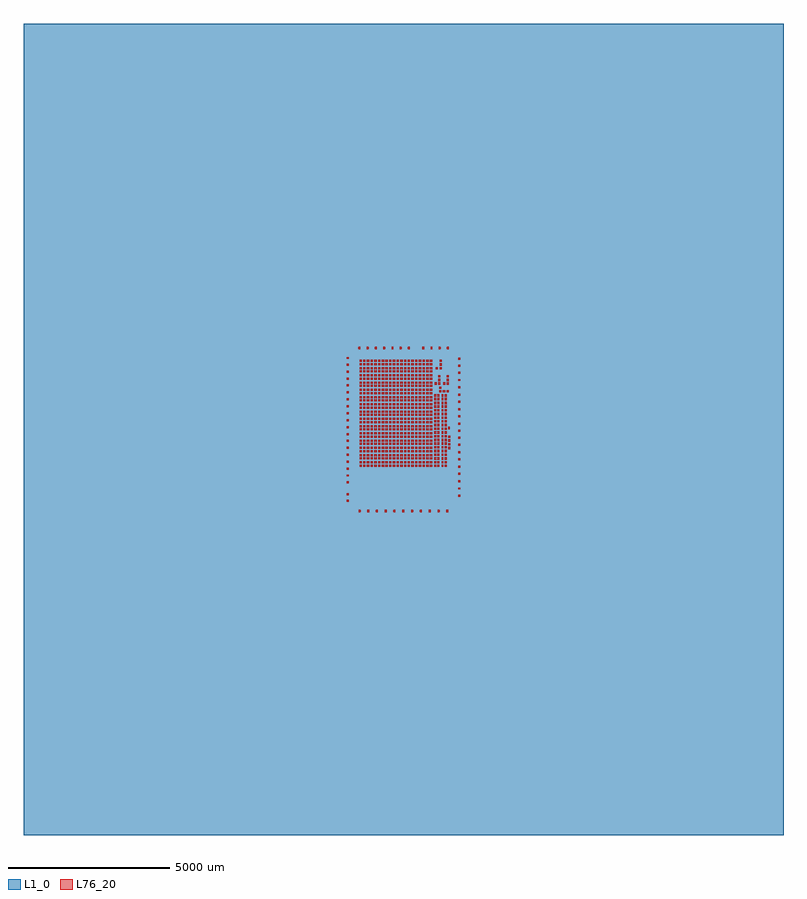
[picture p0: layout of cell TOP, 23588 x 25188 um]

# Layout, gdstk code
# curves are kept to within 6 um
import gdstk
lib = gdstk.Library(unit=1e-6, precision=1e-09)
def R(c, l, rs):  # rectangles x0, y0, x1, y1
    for r in rs: c.add(gdstk.rectangle(r[:2], r[2:], *l))
def A(c, l, x, y, w, h, nx, ny, dx, dy):  # array of equal rectangles
    R(c, l, [(x+i*dx, y+j*dy, x+i*dx+w, y+j*dy+h) for i in range(nx) for j in range(ny)])
def P(c, l, *ps):  # polygons
    for p in ps: c.add(gdstk.Polygon(p, *l))
L1_0 = (1, 0)
L76_20 = (76, 20)

top = lib.new_cell('TOP')
A(top, L1_0, 10181.7, -6125.5, 400, 400, 1, 4, 0, 550.05)
A(top, L1_0, -6958, -5851.25, 400, 400, 1, 3, 0, 550.05)
A(top, L1_0, -6958, -4201, 400, 400, 1, 8, 0, 550.05)
A(top, L1_0, 10181.7, -3925.2, 400, 400, 1, 8, 0, 550.05)
A(top, L1_0, 381.5, 14.5, 100, 100, 3, 1, 269, 0)
A(top, L1_0, 1462.5, 14.5, 100, 100, 6, 1, 274, 0)
A(top, L1_0, -6958, 199.5, 400, 400, 1, 4, 0, 550.05)
A(top, L1_0, 10181.7, 475.3, 400, 400, 1, 4, 0, 550.05)
A(top, L1_0, 14.65, 900.5, 100, 100, 1, 6, 0, 216)
A(top, L1_0, 3473.7, 1164.5, 100, 100, 1, 3, 0, 225)
A(top, L1_0, 3473.7, 2286.5, 100, 100, 1, 3, 0, 220)
A(top, L1_0, -6958, 2398.7, 400, 400, 1, 4, 0, 550.05)
A(top, L1_0, 14.65, 2402.5, 100, 100, 1, 8, 0, 216)
A(top, L1_0, 10181.7, 2674.5, 400, 400, 1, 4, 0, 550.05)
A(top, L1_0, 3473.7, 3403.5, 100, 100, 1, 3, 0, 225)
A(top, L1_0, 14.65, 4125.5, 100, 100, 1, 3, 0, 211)
A(top, L1_0, -6958, 4599, 400, 400, 1, 8, 0, 550.05)
A(top, L1_0, 10181.7, 4874.8, 400, 400, 1, 8, 0, 550.05)
A(top, L1_0, -6958, 8999.5, 400, 400, 1, 4, 0, 550.05)
A(top, L1_0, 10181.7, 9275.3, 400, 400, 1, 4, 0, 550.05)
R(top, L1_0, [(-10000,-10000,13588,15188), (-6982.88,-6982.784,-5982.88,-5982.784), (9606.72,-6980.384,10606.72,-5980.384), (1193.5,14.5,1293.5,114.5), (3101.5,14.5,3201.5,114.5), (14.65,327.5,114.65,427.5), (3473.7,487.5,3573.7,587.5), (14.65,538.5,114.65,638.5), (3473.7,713.5,3573.7,813.5), (3473.7,938.5,3573.7,1038.5), (3473.7,1840.5,3573.7,1940.5), (3473.7,2065.5,3573.7,2165.5), (14.65,2191.5,114.65,2291.5), (3473.7,2952.5,3573.7,3052.5), (3473.7,3177.5,3573.7,3277.5), (3473.7,4079.5,3573.7,4179.5), (3473.7,4299.5,3573.7,4399.5), (3473.7,4525.5,3573.7,4625.5), (3473.7,4745.5,3573.7,4845.5), (14.65,4763.5,114.65,4863.5), (373.5,5074,473.5,5174), (631,5074,731,5174), (887.5,5074,987.5,5174), (1144.5,5074,1244.5,5174), (1402.5,5074,1502.5,5174), (1654.5,5074,1754.5,5174), (1911.5,5074,2011.5,5174), (2357,5074,2457,5174), (2613.5,5074,2713.5,5174), (2865.5,5074,2965.5,5174), (3122.5,5074,3222.5,5174), (-6977.58,11180.816,-5977.58,12180.816), (9576.72,11184.616,10576.72,12184.616)])
P(top, L1_0, [(207.375,197.865),(197.866,207.374),(199.278,4985.278),(3385.281,4988.719),(3388.722,202.718)])
A(top, L76_20, 3180.84, 1987.68, 60, 70, 1, 4, 0, 115)
A(top, L76_20, 2899.89, 3744.93, 70, 60, 3, 1, 115, 0)
A(top, L76_20, 2875.69, 3983.38, 60, 70, 1, 3, 0, 115)
A(top, L76_20, 3138.64, 3984.03, 60, 70, 1, 3, 0, 115)
A(top, L76_20, 2915.64, 4461.68, 60, 70, 1, 3, 0, 115)
R(top, L76_20, [(2750.44,1431.98,2810.44,1501.98), (2848.54,1431.98,2908.54,1501.98), (2975.44,1431.98,3035.44,1501.98), (3073.54,1431.98,3133.54,1501.98), (430.89,1443.23,500.89,1503.23), (543.99,1443.23,613.99,1503.23), (660.89,1443.23,730.89,1503.23), (773.99,1443.23,843.99,1503.23), (890.89,1443.23,960.89,1503.23), (1003.99,1443.23,1073.99,1503.23), (1120.89,1443.23,1190.89,1503.23), (1233.99,1443.23,1303.99,1503.23), (1350.89,1443.23,1420.89,1503.23), (1463.99,1443.23,1533.99,1503.23), (1580.89,1443.23,1650.89,1503.23), (1693.99,1443.23,1763.99,1503.23), (1810.89,1443.23,1880.89,1503.23), (1923.99,1443.23,1993.99,1503.23), (2040.89,1443.23,2110.89,1503.23), (2153.99,1443.23,2223.99,1503.23), (2270.89,1443.23,2340.89,1503.23), (2383.99,1443.23,2453.99,1503.23), (2500.89,1443.23,2570.89,1503.23), (2613.99,1443.23,2683.99,1503.23), (430.89,1541.33,500.89,1601.33), (543.99,1541.33,613.99,1601.33), (660.89,1541.33,730.89,1601.33), (773.99,1541.33,843.99,1601.33), (890.89,1541.33,960.89,1601.33), (1003.99,1541.33,1073.99,1601.33), (1120.89,1541.33,1190.89,1601.33), (1233.99,1541.33,1303.99,1601.33), (1350.89,1541.33,1420.89,1601.33), (1463.99,1541.33,1533.99,1601.33), (1580.89,1541.33,1650.89,1601.33), (1693.99,1541.33,1763.99,1601.33), (1810.89,1541.33,1880.89,1601.33), (1923.99,1541.33,1993.99,1601.33), (2040.89,1541.33,2110.89,1601.33), (2153.99,1541.33,2223.99,1601.33), (2270.89,1541.33,2340.89,1601.33), (2383.99,1541.33,2453.99,1601.33), (2500.89,1541.33,2570.89,1601.33), (2613.99,1541.33,2683.99,1601.33), (2750.44,1545.08,2810.44,1615.08), (2848.54,1545.08,2908.54,1615.08), (2975.44,1545.08,3035.44,1615.08), (3073.54,1545.08,3133.54,1615.08), (2750.44,1661.98,2810.44,1731.98), (2848.54,1661.98,2908.54,1731.98), (2975.44,1661.98,3035.44,1731.98), (3073.54,1661.98,3133.54,1731.98), (430.89,1668.23,500.89,1728.23), (543.99,1668.23,613.99,1728.23), (660.89,1668.23,730.89,1728.23), (773.99,1668.23,843.99,1728.23), (890.89,1668.23,960.89,1728.23), (1003.99,1668.23,1073.99,1728.23), (1120.89,1668.23,1190.89,1728.23), (1233.99,1668.23,1303.99,1728.23), (1350.89,1668.23,1420.89,1728.23), (1463.99,1668.23,1533.99,1728.23), (1580.89,1668.23,1650.89,1728.23), (1693.99,1668.23,1763.99,1728.23), (1810.89,1668.23,1880.89,1728.23), (1923.99,1668.23,1993.99,1728.23), (2040.89,1668.23,2110.89,1728.23), (2153.99,1668.23,2223.99,1728.23), (2270.89,1668.23,2340.89,1728.23), (2383.99,1668.23,2453.99,1728.23), (2500.89,1668.23,2570.89,1728.23), (2613.99,1668.23,2683.99,1728.23), (430.89,1766.33,500.89,1826.33), (543.99,1766.33,613.99,1826.33), (660.89,1766.33,730.89,1826.33), (773.99,1766.33,843.99,1826.33), (890.89,1766.33,960.89,1826.33), (1003.99,1766.33,1073.99,1826.33), (1120.89,1766.33,1190.89,1826.33), (1233.99,1766.33,1303.99,1826.33), (1350.89,1766.33,1420.89,1826.33), (1463.99,1766.33,1533.99,1826.33), (1580.89,1766.33,1650.89,1826.33), (1693.99,1766.33,1763.99,1826.33), (1810.89,1766.33,1880.89,1826.33), (1923.99,1766.33,1993.99,1826.33), (2040.89,1766.33,2110.89,1826.33), (2153.99,1766.33,2223.99,1826.33), (2270.89,1766.33,2340.89,1826.33), (2383.99,1766.33,2453.99,1826.33), (2500.89,1766.33,2570.89,1826.33), (2613.99,1766.33,2683.99,1826.33), (2750.44,1775.08,2810.44,1845.08), (2848.54,1775.08,2908.54,1845.08), (2975.44,1775.08,3035.44,1845.08), (3073.54,1775.08,3133.54,1845.08), (2750.44,1891.98,2810.44,1961.98), (2848.54,1891.98,2908.54,1961.98), (2975.44,1891.98,3035.44,1961.98), (3073.54,1891.98,3133.54,1961.98), (430.89,1893.23,500.89,1953.23), (543.99,1893.23,613.99,1953.23), (660.89,1893.23,730.89,1953.23), (773.99,1893.23,843.99,1953.23), (890.89,1893.23,960.89,1953.23), (1003.99,1893.23,1073.99,1953.23), (1120.89,1893.23,1190.89,1953.23), (1233.99,1893.23,1303.99,1953.23), (1350.89,1893.23,1420.89,1953.23), (1463.99,1893.23,1533.99,1953.23), (1580.89,1893.23,1650.89,1953.23), (1693.99,1893.23,1763.99,1953.23), (1810.89,1893.23,1880.89,1953.23), (1923.99,1893.23,1993.99,1953.23), (2040.89,1893.23,2110.89,1953.23), (2153.99,1893.23,2223.99,1953.23), (2270.89,1893.23,2340.89,1953.23), (2383.99,1893.23,2453.99,1953.23), (2500.89,1893.23,2570.89,1953.23), (2613.99,1893.23,2683.99,1953.23), (430.89,1991.33,500.89,2051.33), (543.99,1991.33,613.99,2051.33), (660.89,1991.33,730.89,2051.33), (773.99,1991.33,843.99,2051.33), (890.89,1991.33,960.89,2051.33), (1003.99,1991.33,1073.99,2051.33), (1120.89,1991.33,1190.89,2051.33), (1233.99,1991.33,1303.99,2051.33), (1350.89,1991.33,1420.89,2051.33), (1463.99,1991.33,1533.99,2051.33), (1580.89,1991.33,1650.89,2051.33), (1693.99,1991.33,1763.99,2051.33), (1810.89,1991.33,1880.89,2051.33), (1923.99,1991.33,1993.99,2051.33), (2040.89,1991.33,2110.89,2051.33), (2153.99,1991.33,2223.99,2051.33), (2270.89,1991.33,2340.89,2051.33), (2383.99,1991.33,2453.99,2051.33), (2500.89,1991.33,2570.89,2051.33), (2613.99,1991.33,2683.99,2051.33), (2750.44,2005.08,2810.44,2075.08), (2848.54,2005.08,2908.54,2075.08), (2975.44,2005.08,3035.44,2075.08), (3073.54,2005.08,3133.54,2075.08), (430.89,2118.23,500.89,2178.23), (543.99,2118.23,613.99,2178.23), (660.89,2118.23,730.89,2178.23), (773.99,2118.23,843.99,2178.23), (890.89,2118.23,960.89,2178.23), (1003.99,2118.23,1073.99,2178.23), (1120.89,2118.23,1190.89,2178.23), (1233.99,2118.23,1303.99,2178.23), (1350.89,2118.23,1420.89,2178.23), (1463.99,2118.23,1533.99,2178.23), (1580.89,2118.23,1650.89,2178.23), (1693.99,2118.23,1763.99,2178.23), (1810.89,2118.23,1880.89,2178.23), (1923.99,2118.23,1993.99,2178.23), (2040.89,2118.23,2110.89,2178.23), (2153.99,2118.23,2223.99,2178.23), (2270.89,2118.23,2340.89,2178.23), (2383.99,2118.23,2453.99,2178.23), (2500.89,2118.23,2570.89,2178.23), (2613.99,2118.23,2683.99,2178.23), (2750.44,2121.98,2810.44,2191.98), (2848.54,2121.98,2908.54,2191.98), (2975.44,2121.98,3035.44,2191.98), (3073.54,2121.98,3133.54,2191.98), (430.89,2216.33,500.89,2276.33), (543.99,2216.33,613.99,2276.33), (660.89,2216.33,730.89,2276.33), (773.99,2216.33,843.99,2276.33), (890.89,2216.33,960.89,2276.33), (1003.99,2216.33,1073.99,2276.33), (1120.89,2216.33,1190.89,2276.33), (1233.99,2216.33,1303.99,2276.33), (1350.89,2216.33,1420.89,2276.33), (1463.99,2216.33,1533.99,2276.33), (1580.89,2216.33,1650.89,2276.33), (1693.99,2216.33,1763.99,2276.33), (1810.89,2216.33,1880.89,2276.33), (1923.99,2216.33,1993.99,2276.33), (2040.89,2216.33,2110.89,2276.33), (2153.99,2216.33,2223.99,2276.33), (2270.89,2216.33,2340.89,2276.33), (2383.99,2216.33,2453.99,2276.33), (2500.89,2216.33,2570.89,2276.33), (2613.99,2216.33,2683.99,2276.33), (2750.44,2235.08,2810.44,2305.08), (2848.54,2235.08,2908.54,2305.08), (2975.44,2235.08,3035.44,2305.08), (3073.54,2235.08,3133.54,2305.08), (430.89,2343.23,500.89,2403.23), (543.99,2343.23,613.99,2403.23), (660.89,2343.23,730.89,2403.23), (773.99,2343.23,843.99,2403.23), (890.89,2343.23,960.89,2403.23), (1003.99,2343.23,1073.99,2403.23), (1120.89,2343.23,1190.89,2403.23), (1233.99,2343.23,1303.99,2403.23), (1350.89,2343.23,1420.89,2403.23), (1463.99,2343.23,1533.99,2403.23), (1580.89,2343.23,1650.89,2403.23), (1693.99,2343.23,1763.99,2403.23), (1810.89,2343.23,1880.89,2403.23), (1923.99,2343.23,1993.99,2403.23), (2040.89,2343.23,2110.89,2403.23), (2153.99,2343.23,2223.99,2403.23), (2270.89,2343.23,2340.89,2403.23), (2383.99,2343.23,2453.99,2403.23), (2500.89,2343.23,2570.89,2403.23), (2613.99,2343.23,2683.99,2403.23), (2750.44,2351.98,2810.44,2421.98), (2848.54,2351.98,2908.54,2421.98), (2975.44,2351.98,3035.44,2421.98), (3073.54,2351.98,3133.54,2421.98), (430.89,2441.33,500.89,2501.33), (543.99,2441.33,613.99,2501.33), (660.89,2441.33,730.89,2501.33), (773.99,2441.33,843.99,2501.33), (890.89,2441.33,960.89,2501.33), (1003.99,2441.33,1073.99,2501.33), (1120.89,2441.33,1190.89,2501.33), (1233.99,2441.33,1303.99,2501.33), (1350.89,2441.33,1420.89,2501.33), (1463.99,2441.33,1533.99,2501.33), (1580.89,2441.33,1650.89,2501.33), (1693.99,2441.33,1763.99,2501.33), (1810.89,2441.33,1880.89,2501.33), (1923.99,2441.33,1993.99,2501.33), (2040.89,2441.33,2110.89,2501.33), (2153.99,2441.33,2223.99,2501.33), (2270.89,2441.33,2340.89,2501.33), (2383.99,2441.33,2453.99,2501.33), (2500.89,2441.33,2570.89,2501.33), (2613.99,2441.33,2683.99,2501.33), (2750.44,2465.08,2810.44,2535.08), (2848.54,2465.08,2908.54,2535.08), (2975.44,2465.08,3035.44,2535.08), (3073.54,2465.08,3133.54,2535.08), (430.89,2568.23,500.89,2628.23), (543.99,2568.23,613.99,2628.23), (660.89,2568.23,730.89,2628.23), (773.99,2568.23,843.99,2628.23), (890.89,2568.23,960.89,2628.23), (1003.99,2568.23,1073.99,2628.23), (1120.89,2568.23,1190.89,2628.23), (1233.99,2568.23,1303.99,2628.23), (1350.89,2568.23,1420.89,2628.23), (1463.99,2568.23,1533.99,2628.23), (1580.89,2568.23,1650.89,2628.23), (1693.99,2568.23,1763.99,2628.23), (1810.89,2568.23,1880.89,2628.23), (1923.99,2568.23,1993.99,2628.23), (2040.89,2568.23,2110.89,2628.23), (2153.99,2568.23,2223.99,2628.23), (2270.89,2568.23,2340.89,2628.23), (2383.99,2568.23,2453.99,2628.23), (2500.89,2568.23,2570.89,2628.23), (2613.99,2568.23,2683.99,2628.23), (2750.44,2581.98,2810.44,2651.98), (2848.54,2581.98,2908.54,2651.98), (2975.44,2581.98,3035.44,2651.98), (3073.54,2581.98,3133.54,2651.98), (3176.24,2604.88,3236.24,2674.88), (430.89,2666.33,500.89,2726.33), (543.99,2666.33,613.99,2726.33), (660.89,2666.33,730.89,2726.33), (773.99,2666.33,843.99,2726.33), (890.89,2666.33,960.89,2726.33), (1003.99,2666.33,1073.99,2726.33), (1120.89,2666.33,1190.89,2726.33), (1233.99,2666.33,1303.99,2726.33), (1350.89,2666.33,1420.89,2726.33), (1463.99,2666.33,1533.99,2726.33), (1580.89,2666.33,1650.89,2726.33), (1693.99,2666.33,1763.99,2726.33), (1810.89,2666.33,1880.89,2726.33), (1923.99,2666.33,1993.99,2726.33), (2040.89,2666.33,2110.89,2726.33), (2153.99,2666.33,2223.99,2726.33), (2270.89,2666.33,2340.89,2726.33), (2383.99,2666.33,2453.99,2726.33), (2500.89,2666.33,2570.89,2726.33), (2613.99,2666.33,2683.99,2726.33), (2750.44,2695.08,2810.44,2765.08), (2848.54,2695.08,2908.54,2765.08), (2975.44,2695.08,3035.44,2765.08), (3073.54,2695.08,3133.54,2765.08), (430.89,2793.23,500.89,2853.23), (543.99,2793.23,613.99,2853.23), (660.89,2793.23,730.89,2853.23), (773.99,2793.23,843.99,2853.23), (890.89,2793.23,960.89,2853.23), (1003.99,2793.23,1073.99,2853.23), (1120.89,2793.23,1190.89,2853.23), (1233.99,2793.23,1303.99,2853.23), (1350.89,2793.23,1420.89,2853.23), (1463.99,2793.23,1533.99,2853.23), (1580.89,2793.23,1650.89,2853.23), (1693.99,2793.23,1763.99,2853.23), (1810.89,2793.23,1880.89,2853.23), (1923.99,2793.23,1993.99,2853.23), (2040.89,2793.23,2110.89,2853.23), (2153.99,2793.23,2223.99,2853.23), (2270.89,2793.23,2340.89,2853.23), (2383.99,2793.23,2453.99,2853.23), (2500.89,2793.23,2570.89,2853.23), (2613.99,2793.23,2683.99,2853.23), (2750.44,2811.98,2810.44,2881.98), (2848.54,2811.98,2908.54,2881.98), (2975.44,2811.98,3035.44,2881.98), (3073.54,2811.98,3133.54,2881.98), (430.89,2891.33,500.89,2951.33), (543.99,2891.33,613.99,2951.33), (660.89,2891.33,730.89,2951.33), (773.99,2891.33,843.99,2951.33), (890.89,2891.33,960.89,2951.33), (1003.99,2891.33,1073.99,2951.33), (1120.89,2891.33,1190.89,2951.33), (1233.99,2891.33,1303.99,2951.33), (1350.89,2891.33,1420.89,2951.33), (1463.99,2891.33,1533.99,2951.33), (1580.89,2891.33,1650.89,2951.33), (1693.99,2891.33,1763.99,2951.33), (1810.89,2891.33,1880.89,2951.33), (1923.99,2891.33,1993.99,2951.33), (2040.89,2891.33,2110.89,2951.33), (2153.99,2891.33,2223.99,2951.33), (2270.89,2891.33,2340.89,2951.33), (2383.99,2891.33,2453.99,2951.33), (2500.89,2891.33,2570.89,2951.33), (2613.99,2891.33,2683.99,2951.33), (2750.44,2925.08,2810.44,2995.08), (2848.54,2925.08,2908.54,2995.08), (2975.44,2925.08,3035.44,2995.08), (3073.54,2925.08,3133.54,2995.08), (430.89,3018.23,500.89,3078.23), (543.99,3018.23,613.99,3078.23), (660.89,3018.23,730.89,3078.23), (773.99,3018.23,843.99,3078.23), (890.89,3018.23,960.89,3078.23), (1003.99,3018.23,1073.99,3078.23), (1120.89,3018.23,1190.89,3078.23), (1233.99,3018.23,1303.99,3078.23), (1350.89,3018.23,1420.89,3078.23), (1463.99,3018.23,1533.99,3078.23), (1580.89,3018.23,1650.89,3078.23), (1693.99,3018.23,1763.99,3078.23), (1810.89,3018.23,1880.89,3078.23), (1923.99,3018.23,1993.99,3078.23), (2040.89,3018.23,2110.89,3078.23), (2153.99,3018.23,2223.99,3078.23), (2270.89,3018.23,2340.89,3078.23), (2383.99,3018.23,2453.99,3078.23), (2500.89,3018.23,2570.89,3078.23), (2613.99,3018.23,2683.99,3078.23), (2750.44,3041.98,2810.44,3111.98), (2848.54,3041.98,2908.54,3111.98), (2975.44,3041.98,3035.44,3111.98), (3073.54,3041.98,3133.54,3111.98), (430.89,3116.33,500.89,3176.33), (543.99,3116.33,613.99,3176.33), (660.89,3116.33,730.89,3176.33), (773.99,3116.33,843.99,3176.33), (890.89,3116.33,960.89,3176.33), (1003.99,3116.33,1073.99,3176.33), (1120.89,3116.33,1190.89,3176.33), (1233.99,3116.33,1303.99,3176.33), (1350.89,3116.33,1420.89,3176.33), (1463.99,3116.33,1533.99,3176.33), (1580.89,3116.33,1650.89,3176.33), (1693.99,3116.33,1763.99,3176.33), (1810.89,3116.33,1880.89,3176.33), (1923.99,3116.33,1993.99,3176.33), (2040.89,3116.33,2110.89,3176.33), (2153.99,3116.33,2223.99,3176.33), (2270.89,3116.33,2340.89,3176.33), (2383.99,3116.33,2453.99,3176.33), (2500.89,3116.33,2570.89,3176.33), (2613.99,3116.33,2683.99,3176.33), (2750.44,3155.08,2810.44,3225.08), (2848.54,3155.08,2908.54,3225.08), (2975.44,3155.08,3035.44,3225.08), (3073.54,3155.08,3133.54,3225.08), (430.89,3243.23,500.89,3303.23), (543.99,3243.23,613.99,3303.23), (660.89,3243.23,730.89,3303.23), (773.99,3243.23,843.99,3303.23), (890.89,3243.23,960.89,3303.23), (1003.99,3243.23,1073.99,3303.23), (1120.89,3243.23,1190.89,3303.23), (1233.99,3243.23,1303.99,3303.23), (1350.89,3243.23,1420.89,3303.23), (1463.99,3243.23,1533.99,3303.23), (1580.89,3243.23,1650.89,3303.23), (1693.99,3243.23,1763.99,3303.23), (1810.89,3243.23,1880.89,3303.23), (1923.99,3243.23,1993.99,3303.23), (2040.89,3243.23,2110.89,3303.23), (2153.99,3243.23,2223.99,3303.23), (2270.89,3243.23,2340.89,3303.23), (2383.99,3243.23,2453.99,3303.23), (2500.89,3243.23,2570.89,3303.23), (2613.99,3243.23,2683.99,3303.23), (2750.44,3271.98,2810.44,3341.98), (2848.54,3271.98,2908.54,3341.98), (2975.44,3271.98,3035.44,3341.98), (3073.54,3271.98,3133.54,3341.98), (430.89,3341.33,500.89,3401.33), (543.99,3341.33,613.99,3401.33), (660.89,3341.33,730.89,3401.33), (773.99,3341.33,843.99,3401.33), (890.89,3341.33,960.89,3401.33), (1003.99,3341.33,1073.99,3401.33), (1120.89,3341.33,1190.89,3401.33), (1233.99,3341.33,1303.99,3401.33), (1350.89,3341.33,1420.89,3401.33), (1463.99,3341.33,1533.99,3401.33), (1580.89,3341.33,1650.89,3401.33), (1693.99,3341.33,1763.99,3401.33), (1810.89,3341.33,1880.89,3401.33), (1923.99,3341.33,1993.99,3401.33), (2040.89,3341.33,2110.89,3401.33), (2153.99,3341.33,2223.99,3401.33), (2270.89,3341.33,2340.89,3401.33), (2383.99,3341.33,2453.99,3401.33), (2500.89,3341.33,2570.89,3401.33), (2613.99,3341.33,2683.99,3401.33), (2750.44,3385.08,2810.44,3455.08), (2848.54,3385.08,2908.54,3455.08), (2975.44,3385.08,3035.44,3455.08), (3073.54,3385.08,3133.54,3455.08), (430.89,3468.23,500.89,3528.23), (543.99,3468.23,613.99,3528.23), (660.89,3468.23,730.89,3528.23), (773.99,3468.23,843.99,3528.23), (890.89,3468.23,960.89,3528.23), (1003.99,3468.23,1073.99,3528.23), (1120.89,3468.23,1190.89,3528.23), (1233.99,3468.23,1303.99,3528.23), (1350.89,3468.23,1420.89,3528.23), (1463.99,3468.23,1533.99,3528.23), (1580.89,3468.23,1650.89,3528.23), (1693.99,3468.23,1763.99,3528.23), (1810.89,3468.23,1880.89,3528.23), (1923.99,3468.23,1993.99,3528.23), (2040.89,3468.23,2110.89,3528.23), (2153.99,3468.23,2223.99,3528.23), (2270.89,3468.23,2340.89,3528.23), (2383.99,3468.23,2453.99,3528.23), (2500.89,3468.23,2570.89,3528.23), (2613.99,3468.23,2683.99,3528.23), (2750.44,3501.98,2810.44,3571.98), (2848.54,3501.98,2908.54,3571.98), (2975.44,3501.98,3035.44,3571.98), (3073.54,3501.98,3133.54,3571.98), (430.89,3566.33,500.89,3626.33), (543.99,3566.33,613.99,3626.33), (660.89,3566.33,730.89,3626.33), (773.99,3566.33,843.99,3626.33), (890.89,3566.33,960.89,3626.33), (1003.99,3566.33,1073.99,3626.33), (1120.89,3566.33,1190.89,3626.33), (1233.99,3566.33,1303.99,3626.33), (1350.89,3566.33,1420.89,3626.33), (1463.99,3566.33,1533.99,3626.33), (1580.89,3566.33,1650.89,3626.33), (1693.99,3566.33,1763.99,3626.33), (1810.89,3566.33,1880.89,3626.33), (1923.99,3566.33,1993.99,3626.33), (2040.89,3566.33,2110.89,3626.33), (2153.99,3566.33,2223.99,3626.33), (2270.89,3566.33,2340.89,3626.33), (2383.99,3566.33,2453.99,3626.33), (2500.89,3566.33,2570.89,3626.33), (2613.99,3566.33,2683.99,3626.33), (2750.44,3615.08,2810.44,3685.08), (2848.54,3615.08,2908.54,3685.08), (2975.44,3615.08,3035.44,3685.08), (3073.54,3615.08,3133.54,3685.08), (430.89,3693.23,500.89,3753.23), (543.99,3693.23,613.99,3753.23), (660.89,3693.23,730.89,3753.23), (773.99,3693.23,843.99,3753.23), (890.89,3693.23,960.89,3753.23), (1003.99,3693.23,1073.99,3753.23), (1120.89,3693.23,1190.89,3753.23), (1233.99,3693.23,1303.99,3753.23), (1350.89,3693.23,1420.89,3753.23), (1463.99,3693.23,1533.99,3753.23), (1580.89,3693.23,1650.89,3753.23), (1693.99,3693.23,1763.99,3753.23), (1810.89,3693.23,1880.89,3753.23), (1923.99,3693.23,1993.99,3753.23), (2040.89,3693.23,2110.89,3753.23), (2153.99,3693.23,2223.99,3753.23), (2270.89,3693.23,2340.89,3753.23), (2383.99,3693.23,2453.99,3753.23), (2500.89,3693.23,2570.89,3753.23), (2613.99,3693.23,2683.99,3753.23), (430.89,3791.33,500.89,3851.33), (543.99,3791.33,613.99,3851.33), (660.89,3791.33,730.89,3851.33), (773.99,3791.33,843.99,3851.33), (890.89,3791.33,960.89,3851.33), (1003.99,3791.33,1073.99,3851.33), (1120.89,3791.33,1190.89,3851.33), (1233.99,3791.33,1303.99,3851.33), (1350.89,3791.33,1420.89,3851.33), (1463.99,3791.33,1533.99,3851.33), (1580.89,3791.33,1650.89,3851.33), (1693.99,3791.33,1763.99,3851.33), (1810.89,3791.33,1880.89,3851.33), (1923.99,3791.33,1993.99,3851.33), (2040.89,3791.33,2110.89,3851.33), (2153.99,3791.33,2223.99,3851.33), (2270.89,3791.33,2340.89,3851.33), (2383.99,3791.33,2453.99,3851.33), (2500.89,3791.33,2570.89,3851.33), (2613.99,3791.33,2683.99,3851.33), (2899.89,3859.93,2969.89,3919.93), (430.89,3918.23,500.89,3978.23), (543.99,3918.23,613.99,3978.23), (660.89,3918.23,730.89,3978.23), (773.99,3918.23,843.99,3978.23), (890.89,3918.23,960.89,3978.23), (1003.99,3918.23,1073.99,3978.23), (1120.89,3918.23,1190.89,3978.23), (1233.99,3918.23,1303.99,3978.23), (1350.89,3918.23,1420.89,3978.23), (1463.99,3918.23,1533.99,3978.23), (1580.89,3918.23,1650.89,3978.23), (1693.99,3918.23,1763.99,3978.23), (1810.89,3918.23,1880.89,3978.23), (1923.99,3918.23,1993.99,3978.23), (2040.89,3918.23,2110.89,3978.23), (2153.99,3918.23,2223.99,3978.23), (2270.89,3918.23,2340.89,3978.23), (2383.99,3918.23,2453.99,3978.23), (2500.89,3918.23,2570.89,3978.23), (2613.99,3918.23,2683.99,3978.23), (2760.69,3983.38,2820.69,4053.38), (3023.64,3984.03,3083.64,4054.03), (430.89,4016.33,500.89,4076.33), (543.99,4016.33,613.99,4076.33), (660.89,4016.33,730.89,4076.33), (773.99,4016.33,843.99,4076.33), (890.89,4016.33,960.89,4076.33), (1003.99,4016.33,1073.99,4076.33), (1120.89,4016.33,1190.89,4076.33), (1233.99,4016.33,1303.99,4076.33), (1350.89,4016.33,1420.89,4076.33), (1463.99,4016.33,1533.99,4076.33), (1580.89,4016.33,1650.89,4076.33), (1693.99,4016.33,1763.99,4076.33), (1810.89,4016.33,1880.89,4076.33), (1923.99,4016.33,1993.99,4076.33), (2040.89,4016.33,2110.89,4076.33), (2153.99,4016.33,2223.99,4076.33), (2270.89,4016.33,2340.89,4076.33), (2383.99,4016.33,2453.99,4076.33), (2500.89,4016.33,2570.89,4076.33), (2613.99,4016.33,2683.99,4076.33), (430.89,4143.23,500.89,4203.23), (543.99,4143.23,613.99,4203.23), (660.89,4143.23,730.89,4203.23), (773.99,4143.23,843.99,4203.23), (890.89,4143.23,960.89,4203.23), (1003.99,4143.23,1073.99,4203.23), (1120.89,4143.23,1190.89,4203.23), (1233.99,4143.23,1303.99,4203.23), (1350.89,4143.23,1420.89,4203.23), (1463.99,4143.23,1533.99,4203.23), (1580.89,4143.23,1650.89,4203.23), (1693.99,4143.23,1763.99,4203.23), (1810.89,4143.23,1880.89,4203.23), (1923.99,4143.23,1993.99,4203.23), (2040.89,4143.23,2110.89,4203.23), (2153.99,4143.23,2223.99,4203.23), (2270.89,4143.23,2340.89,4203.23), (2383.99,4143.23,2453.99,4203.23), (2500.89,4143.23,2570.89,4203.23), (2613.99,4143.23,2683.99,4203.23), (430.89,4241.33,500.89,4301.33), (543.99,4241.33,613.99,4301.33), (660.89,4241.33,730.89,4301.33), (773.99,4241.33,843.99,4301.33), (890.89,4241.33,960.89,4301.33), (1003.99,4241.33,1073.99,4301.33), (1120.89,4241.33,1190.89,4301.33), (1233.99,4241.33,1303.99,4301.33), (1350.89,4241.33,1420.89,4301.33), (1463.99,4241.33,1533.99,4301.33), (1580.89,4241.33,1650.89,4301.33), (1693.99,4241.33,1763.99,4301.33), (1810.89,4241.33,1880.89,4301.33), (1923.99,4241.33,1993.99,4301.33), (2040.89,4241.33,2110.89,4301.33), (2153.99,4241.33,2223.99,4301.33), (2270.89,4241.33,2340.89,4301.33), (2383.99,4241.33,2453.99,4301.33), (2500.89,4241.33,2570.89,4301.33), (2613.99,4241.33,2683.99,4301.33), (430.89,4368.23,500.89,4428.23), (543.99,4368.23,613.99,4428.23), (660.89,4368.23,730.89,4428.23), (773.99,4368.23,843.99,4428.23), (890.89,4368.23,960.89,4428.23), (1003.99,4368.23,1073.99,4428.23), (1120.89,4368.23,1190.89,4428.23), (1233.99,4368.23,1303.99,4428.23), (1350.89,4368.23,1420.89,4428.23), (1463.99,4368.23,1533.99,4428.23), (1580.89,4368.23,1650.89,4428.23), (1693.99,4368.23,1763.99,4428.23), (1810.89,4368.23,1880.89,4428.23), (1923.99,4368.23,1993.99,4428.23), (2040.89,4368.23,2110.89,4428.23), (2153.99,4368.23,2223.99,4428.23), (2270.89,4368.23,2340.89,4428.23), (2383.99,4368.23,2453.99,4428.23), (2500.89,4368.23,2570.89,4428.23), (2613.99,4368.23,2683.99,4428.23), (2800.64,4461.68,2860.64,4531.68), (430.89,4466.33,500.89,4526.33), (543.99,4466.33,613.99,4526.33), (660.89,4466.33,730.89,4526.33), (773.99,4466.33,843.99,4526.33), (890.89,4466.33,960.89,4526.33), (1003.99,4466.33,1073.99,4526.33), (1120.89,4466.33,1190.89,4526.33), (1233.99,4466.33,1303.99,4526.33), (1350.89,4466.33,1420.89,4526.33), (1463.99,4466.33,1533.99,4526.33), (1580.89,4466.33,1650.89,4526.33), (1693.99,4466.33,1763.99,4526.33), (1810.89,4466.33,1880.89,4526.33), (1923.99,4466.33,1993.99,4526.33), (2040.89,4466.33,2110.89,4526.33), (2153.99,4466.33,2223.99,4526.33), (2270.89,4466.33,2340.89,4526.33), (2383.99,4466.33,2453.99,4526.33), (2500.89,4466.33,2570.89,4526.33), (2613.99,4466.33,2683.99,4526.33), (430.89,4593.23,500.89,4653.23), (543.99,4593.23,613.99,4653.23), (660.89,4593.23,730.89,4653.23), (773.99,4593.23,843.99,4653.23), (890.89,4593.23,960.89,4653.23), (1003.99,4593.23,1073.99,4653.23), (1120.89,4593.23,1190.89,4653.23), (1233.99,4593.23,1303.99,4653.23), (1350.89,4593.23,1420.89,4653.23), (1463.99,4593.23,1533.99,4653.23), (1580.89,4593.23,1650.89,4653.23), (1693.99,4593.23,1763.99,4653.23), (1810.89,4593.23,1880.89,4653.23), (1923.99,4593.23,1993.99,4653.23), (2040.89,4593.23,2110.89,4653.23), (2153.99,4593.23,2223.99,4653.23), (2270.89,4593.23,2340.89,4653.23), (2383.99,4593.23,2453.99,4653.23), (2500.89,4593.23,2570.89,4653.23), (2613.99,4593.23,2683.99,4653.23), (430.89,4691.33,500.89,4751.33), (543.99,4691.33,613.99,4751.33), (660.89,4691.33,730.89,4751.33), (773.99,4691.33,843.99,4751.33), (890.89,4691.33,960.89,4751.33), (1003.99,4691.33,1073.99,4751.33), (1120.89,4691.33,1190.89,4751.33), (1233.99,4691.33,1303.99,4751.33), (1350.89,4691.33,1420.89,4751.33), (1463.99,4691.33,1533.99,4751.33), (1580.89,4691.33,1650.89,4751.33), (1693.99,4691.33,1763.99,4751.33), (1810.89,4691.33,1880.89,4751.33), (1923.99,4691.33,1993.99,4751.33), (2040.89,4691.33,2110.89,4751.33), (2153.99,4691.33,2223.99,4751.33), (2270.89,4691.33,2340.89,4751.33), (2383.99,4691.33,2453.99,4751.33), (2500.89,4691.33,2570.89,4751.33), (2613.99,4691.33,2683.99,4751.33)])
P(top, L76_20, [(944.45,29.215),(939.5,34.165),(939.5,94.265),(944.45,99.215),(994.55,99.215),(999.5,94.265),(999.5,34.165),(994.55,29.215)],
  [(1487.45,29.215),(1482.5,34.165),(1482.5,94.265),(1487.45,99.215),(1537.55,99.215),(1542.5,94.265),(1542.5,34.165),(1537.55,29.215)],
  [(1761.45,29.215),(1756.5,34.165),(1756.5,94.265),(1761.45,99.215),(1811.55,99.215),(1816.5,94.265),(1816.5,34.165),(1811.55,29.215)],
  [(2035.45,29.215),(2030.5,34.165),(2030.5,94.265),(2035.45,99.215),(2085.55,99.215),(2090.5,94.265),(2090.5,34.165),(2085.55,29.215)],
  [(2309.45,29.215),(2304.5,34.165),(2304.5,94.265),(2309.45,99.215),(2359.55,99.215),(2364.5,94.265),(2364.5,34.165),(2359.55,29.215)],
  [(2583.45,29.215),(2578.5,34.165),(2578.5,94.265),(2583.45,99.215),(2633.55,99.215),(2638.5,94.265),(2638.5,34.165),(2633.55,29.215)],
  [(406.45,29.6),(401.5,34.55),(401.5,94.65),(406.45,99.6),(456.55,99.6),(461.5,94.65),(461.5,34.55),(456.55,29.6)],
  [(675.45,29.6),(670.5,34.55),(670.5,94.65),(675.45,99.6),(725.55,99.6),(730.5,94.65),(730.5,34.55),(725.55,29.6)],
  [(1218.45,29.6),(1213.5,34.55),(1213.5,94.65),(1218.45,99.6),(1268.55,99.6),(1273.5,94.65),(1273.5,34.55),(1268.55,29.6)],
  [(2857.45,29.6),(2852.5,34.55),(2852.5,94.65),(2857.45,99.6),(2907.55,99.6),(2912.5,94.65),(2912.5,34.55),(2907.55,29.6)],
  [(3126.45,29.6),(3121.5,34.55),(3121.5,94.65),(3126.45,99.6),(3176.55,99.6),(3181.5,94.65),(3181.5,34.55),(3176.55,29.6)],
  [(1679.45,5088.4),(1674.5,5093.35),(1674.5,5153.45),(1679.45,5158.4),(1729.55,5158.4),(1734.5,5153.45),(1734.5,5093.35),(1729.55,5088.4)],
  [(2890.45,5088.4),(2885.5,5093.35),(2885.5,5153.45),(2890.45,5158.4),(2940.55,5158.4),(2945.5,5153.45),(2945.5,5093.35),(2940.55,5088.4)],
  [(398.45,5088.785),(393.5,5093.735),(393.5,5153.835),(398.45,5158.785),(448.55,5158.785),(453.5,5153.835),(453.5,5093.735),(448.55,5088.785)],
  [(655.45,5088.785),(650.5,5093.735),(650.5,5153.835),(655.45,5158.785),(705.55,5158.785),(710.5,5153.835),(710.5,5093.735),(705.55,5088.785)],
  [(912.45,5088.785),(907.5,5093.735),(907.5,5153.835),(912.45,5158.785),(962.55,5158.785),(967.5,5153.835),(967.5,5093.735),(962.55,5088.785)],
  [(1169.45,5088.785),(1164.5,5093.735),(1164.5,5153.835),(1169.45,5158.785),(1219.55,5158.785),(1224.5,5153.835),(1224.5,5093.735),(1219.55,5088.785)],
  [(1427.45,5088.785),(1422.5,5093.735),(1422.5,5153.835),(1427.45,5158.785),(1477.55,5158.785),(1482.5,5153.835),(1482.5,5093.735),(1477.55,5088.785)],
  [(1936.45,5088.785),(1931.5,5093.735),(1931.5,5153.835),(1936.45,5158.785),(1986.55,5158.785),(1991.5,5153.835),(1991.5,5093.735),(1986.55,5088.785)],
  [(2381.45,5088.785),(2376.5,5093.735),(2376.5,5153.835),(2381.45,5158.785),(2431.55,5158.785),(2436.5,5153.835),(2436.5,5093.735),(2431.55,5088.785)],
  [(2638.45,5088.785),(2633.5,5093.735),(2633.5,5153.835),(2638.45,5158.785),(2688.55,5158.785),(2693.5,5153.835),(2693.5,5093.735),(2688.55,5088.785)],
  [(3147.45,5088.785),(3142.5,5093.735),(3142.5,5153.835),(3147.45,5158.785),(3197.55,5158.785),(3202.5,5153.835),(3202.5,5093.735),(3197.55,5088.785)],
  [(34.55,347.5),(29.6,352.45),(29.6,402.55),(34.55,407.5),(94.65,407.5),(99.6,402.55),(99.6,352.45),(94.65,347.5)],
  [(34.55,558.5),(29.6,563.45),(29.6,613.55),(34.55,618.5),(94.65,618.5),(99.6,613.55),(99.6,563.45),(94.65,558.5)],
  [(34.55,2211.5),(29.6,2216.45),(29.6,2266.55),(34.55,2271.5),(94.65,2271.5),(99.6,2266.55),(99.6,2216.45),(94.65,2211.5)],
  [(34.55,2422.5),(29.6,2427.45),(29.6,2477.55),(34.55,2482.5),(94.65,2482.5),(99.6,2477.55),(99.6,2427.45),(94.65,2422.5)],
  [(34.55,4145.5),(29.6,4150.45),(29.6,4200.55),(34.55,4205.5),(94.65,4205.5),(99.6,4200.55),(99.6,4150.45),(94.65,4145.5)],
  [(34.55,4356.5),(29.6,4361.45),(29.6,4411.55),(34.55,4416.5),(94.65,4416.5),(99.6,4411.55),(99.6,4361.45),(94.65,4356.5)],
  [(34.55,4567.5),(29.6,4572.45),(29.6,4622.55),(34.55,4627.5),(94.65,4627.5),(99.6,4622.55),(99.6,4572.45),(94.65,4567.5)],
  [(34.165,920.5),(29.215,925.45),(29.215,975.55),(34.165,980.5),(94.265,980.5),(99.215,975.55),(99.215,925.45),(94.265,920.5)],
  [(34.165,1136.5),(29.215,1141.45),(29.215,1191.55),(34.165,1196.5),(94.265,1196.5),(99.215,1191.55),(99.215,1141.45),(94.265,1136.5)],
  [(34.165,1352.5),(29.215,1357.45),(29.215,1407.55),(34.165,1412.5),(94.265,1412.5),(99.215,1407.55),(99.215,1357.45),(94.265,1352.5)],
  [(34.165,1568.5),(29.215,1573.45),(29.215,1623.55),(34.165,1628.5),(94.265,1628.5),(99.215,1623.55),(99.215,1573.45),(94.265,1568.5)],
  [(34.165,1784.5),(29.215,1789.45),(29.215,1839.55),(34.165,1844.5),(94.265,1844.5),(99.215,1839.55),(99.215,1789.45),(94.265,1784.5)],
  [(34.165,2000.5),(29.215,2005.45),(29.215,2055.55),(34.165,2060.5),(94.265,2060.5),(99.215,2055.55),(99.215,2005.45),(94.265,2000.5)],
  [(34.165,2638.5),(29.215,2643.45),(29.215,2693.55),(34.165,2698.5),(94.265,2698.5),(99.215,2693.55),(99.215,2643.45),(94.265,2638.5)],
  [(34.165,2854.5),(29.215,2859.45),(29.215,2909.55),(34.165,2914.5),(94.265,2914.5),(99.215,2909.55),(99.215,2859.45),(94.265,2854.5)],
  [(34.165,3070.5),(29.215,3075.45),(29.215,3125.55),(34.165,3130.5),(94.265,3130.5),(99.215,3125.55),(99.215,3075.45),(94.265,3070.5)],
  [(34.165,3286.5),(29.215,3291.45),(29.215,3341.55),(34.165,3346.5),(94.265,3346.5),(99.215,3341.55),(99.215,3291.45),(94.265,3286.5)],
  [(34.165,3502.5),(29.215,3507.45),(29.215,3557.55),(34.165,3562.5),(94.265,3562.5),(99.215,3557.55),(99.215,3507.45),(94.265,3502.5)],
  [(34.165,3718.5),(29.215,3723.45),(29.215,3773.55),(34.165,3778.5),(94.265,3778.5),(99.215,3773.55),(99.215,3723.45),(94.265,3718.5)],
  [(34.165,3934.5),(29.215,3939.45),(29.215,3989.55),(34.165,3994.5),(94.265,3994.5),(99.215,3989.55),(99.215,3939.45),(94.265,3934.5)],
  [(3493.35,2085.5),(3488.4,2090.45),(3488.4,2140.55),(3493.35,2145.5),(3553.45,2145.5),(3558.4,2140.55),(3558.4,2090.45),(3553.45,2085.5)],
  [(3493.35,2306.5),(3488.4,2311.45),(3488.4,2361.55),(3493.35,2366.5),(3553.45,2366.5),(3558.4,2361.55),(3558.4,2311.45),(3553.45,2306.5)],
  [(3493.735,2972.5),(3488.785,2977.45),(3488.785,3027.55),(3493.735,3032.5),(3553.835,3032.5),(3558.785,3027.55),(3558.785,2977.45),(3553.835,2972.5)],
  [(3493.735,3197.5),(3488.785,3202.45),(3488.785,3252.55),(3493.735,3257.5),(3553.835,3257.5),(3558.785,3252.55),(3558.785,3202.45),(3553.835,3197.5)],
  [(3493.735,3423.5),(3488.785,3428.45),(3488.785,3478.55),(3493.735,3483.5),(3553.835,3483.5),(3558.785,3478.55),(3558.785,3428.45),(3553.835,3423.5)],
  [(3493.735,3648.5),(3488.785,3653.45),(3488.785,3703.55),(3493.735,3708.5),(3553.835,3708.5),(3558.785,3703.55),(3558.785,3653.45),(3553.835,3648.5)],
  [(3493.735,3873.5),(3488.785,3878.45),(3488.785,3928.55),(3493.735,3933.5),(3553.835,3933.5),(3558.785,3928.55),(3558.785,3878.45),(3553.835,3873.5)],
  [(3493.735,4319.5),(3488.785,4324.45),(3488.785,4374.55),(3493.735,4379.5),(3553.835,4379.5),(3558.785,4374.55),(3558.785,4324.45),(3553.835,4319.5)],
  [(3493.735,4765.5),(3488.785,4770.45),(3488.785,4820.55),(3493.735,4825.5),(3553.835,4825.5),(3558.785,4820.55),(3558.785,4770.45),(3553.835,4765.5)],
  [(3493.735,733.5),(3488.785,738.45),(3488.785,788.55),(3493.735,793.5),(3553.835,793.5),(3558.785,788.55),(3558.785,738.45),(3553.835,733.5)],
  [(3493.735,1184.5),(3488.785,1189.45),(3488.785,1239.55),(3493.735,1244.5),(3553.835,1244.5),(3558.785,1239.55),(3558.785,1189.45),(3553.835,1184.5)],
  [(3493.735,507.5),(3488.785,512.45),(3488.785,562.55),(3493.735,567.5),(3553.835,567.5),(3558.785,562.55),(3558.785,512.45),(3553.835,507.5)],
  [(3493.735,958.5),(3488.785,963.45),(3488.785,1013.55),(3493.735,1018.5),(3553.835,1018.5),(3558.785,1013.55),(3558.785,963.45),(3553.835,958.5)],
  [(3493.735,1409.5),(3488.785,1414.45),(3488.785,1464.55),(3493.735,1469.5),(3553.835,1469.5),(3558.785,1464.55),(3558.785,1414.45),(3553.835,1409.5)],
  [(3493.735,1860.5),(3488.785,1865.45),(3488.785,1915.55),(3493.735,1920.5),(3553.835,1920.5),(3558.785,1915.55),(3558.785,1865.45),(3553.835,1860.5)],
  [(3493.735,1634.5),(3488.785,1639.45),(3488.785,1689.55),(3493.735,1694.5),(3553.835,1694.5),(3558.785,1689.55),(3558.785,1639.45),(3553.835,1634.5)],
  [(3493.735,2746.5),(3488.785,2751.45),(3488.785,2801.55),(3493.735,2806.5),(3553.835,2806.5),(3558.785,2801.55),(3558.785,2751.45),(3553.835,2746.5)],
  [(3493.35,2526.5),(3488.4,2531.45),(3488.4,2581.55),(3493.35,2586.5),(3553.45,2586.5),(3558.4,2581.55),(3558.4,2531.45),(3553.45,2526.5)],
  [(3493.35,4099.5),(3488.4,4104.45),(3488.4,4154.55),(3493.35,4159.5),(3553.45,4159.5),(3558.4,4154.55),(3558.4,4104.45),(3553.45,4099.5)],
  [(34.165,4783.5),(29.215,4788.45),(29.215,4838.55),(34.165,4843.5),(94.265,4843.5),(99.215,4838.55),(99.215,4788.45),(94.265,4783.5)],
  [(3493.35,4545.5),(3488.4,4550.45),(3488.4,4600.55),(3493.35,4605.5),(3553.45,4605.5),(3558.4,4600.55),(3558.4,4550.45),(3553.45,4545.5)])
top.add(gdstk.FlexPath([(-6982.933,12184.666),(-6982.933,-6982.933),(10608.384,-6982.933),(10576.858,12184.666),(-6982.933,12184.666)], 0.1, ends="flush", simple_path=True, layer=1, datatype=0))  # L1_0
top.add(gdstk.FlexPath([(680.571,5174),(681.847,7503.661),(1871.954,8635.916),(1871.21,10034.712),(1324.952,10565.621),(-4129.607,10566.531),(-6302.222,8098.751),(-6558,8098.675)], 80, ends="flush", simple_path=True, layer=1, datatype=0))  # L1_0
top.add(gdstk.FlexPath([(937.513,5174),(935.952,7402.354),(2135.258,8538.19),(2131.469,10189.234),(1508.34,10808.719),(-4318.444,10818.314),(-6272.291,8651.691),(-6558,8651.655)], 80, ends="flush", simple_path=True, layer=1, datatype=0))  # L1_0
top.add(gdstk.FlexPath([(1194.483,5174),(1192.582,7300.991),(2399.291,8460.446),(2399.574,10349.504),(1686.522,11055.657),(-4518.313,11045.598),(-6247.964,9196.535),(-6558,9196.5)], 80, ends="flush", simple_path=True, layer=1, datatype=0))  # L1_0
top.add(gdstk.FlexPath([(423.686,5174),(423.472,7602.662),(1607.607,8743.161),(1609.591,9879.692),(1150.416,10321.016),(-3931.249,10321.016),(-6334.428,7549.902),(-6558,7549.846)], 80, ends="flush", simple_path=True, layer=1, datatype=0))  # L1_0
top.add(gdstk.FlexPath([(1704.812,5174),(1706.473,7102.161),(2946.102,8283.41),(2944.834,10642.994),(2051.913,11546.912),(-4845.78,11547.224),(-6093.418,10289.058),(-6558,10288.989)], 80, ends="flush", simple_path=True, layer=1, datatype=0))  # L1_0
top.add(gdstk.FlexPath([(1960.358,5174),(1959.315,6995.376),(3216.012,8200.589),(3217.564,10804.694),(2226.439,11794.382),(-4997.943,11801.177),(-5963.564,10846.749),(-6558,10846.754)], 80, ends="flush", simple_path=True, layer=1, datatype=0))  # L1_0
top.add(gdstk.FlexPath([(1451.983,5174),(1450.578,7201.32),(2672.214,8365.915),(2672.405,10500.447),(1874.916,11298.558),(-4693.447,11295.054),(-6178.363,9749.573),(-6557.987,9749.498)], 80, ends="flush", simple_path=True, layer=1, datatype=0))  # L1_0

lib.write_gds('TOP.gds')
